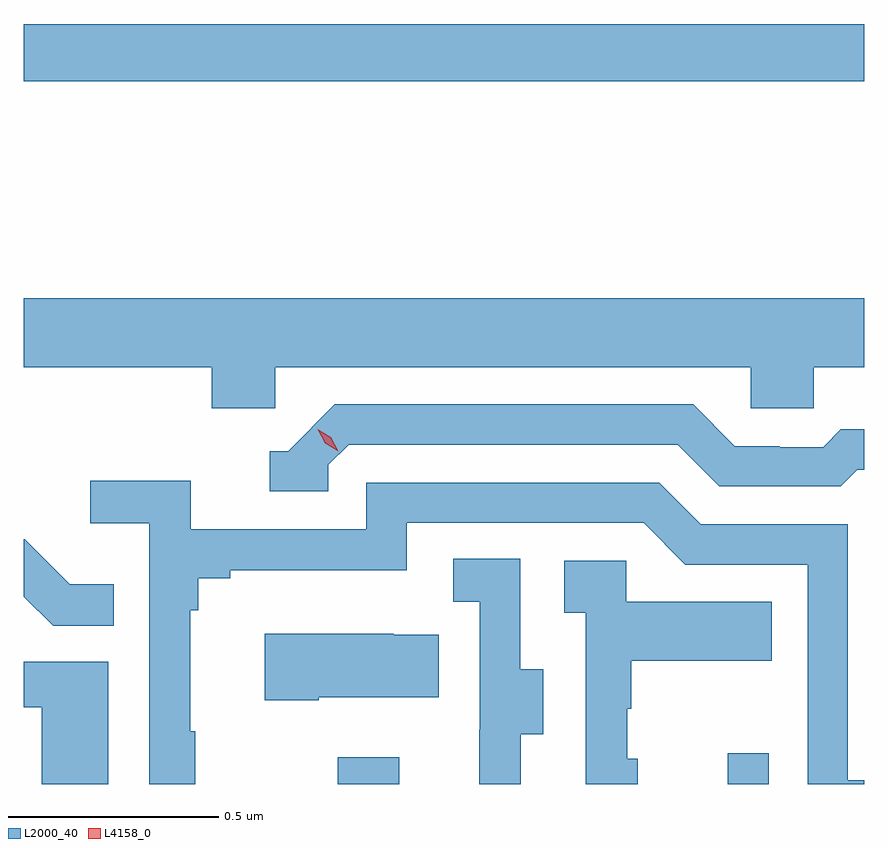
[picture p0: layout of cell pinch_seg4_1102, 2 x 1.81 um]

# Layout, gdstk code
import gdstk
lib = gdstk.Library(unit=1e-6, precision=1e-09)
def R(c, l, rs):  # rectangles x0, y0, x1, y1
    for r in rs: c.add(gdstk.rectangle(r[:2], r[2:], *l))
def P(c, l, *ps):  # polygons
    for p in ps: c.add(gdstk.Polygon(p, *l))
L2000_40 = (2000, 40)
L4158_0 = (4158, 0)

pinch_seg4_1102 = lib.new_cell('pinch_seg4_1102')
R(pinch_seg4_1102, L2000_40, [(832.27,766.524,832.417,766.588), (833.198,766.524,833.295,766.597), (831.523,768.196,833.523,768.332)])
P(pinch_seg4_1102, L2000_40, [(832.122,767.516),(833.253,767.516),(833.253,767.418),(833.403,767.418),(833.403,767.516),(833.523,767.516),(833.523,767.68),(831.523,767.68),(831.523,767.516),(831.971,767.516),(831.971,767.418),(832.122,767.418)],
  [(832.248,767.283),(832.296,767.331),(833.079,767.331),(833.178,767.232),(833.467,767.232),(833.506,767.271),(833.523,767.271),(833.523,767.368),(833.467,767.368),(833.425,767.325),(833.322,767.325),(833.322,767.328),(833.215,767.328),(833.116,767.427),(832.263,767.427),(832.152,767.316),(832.109,767.316),(832.109,767.22),(832.248,767.22)],
  [(831.931,766.649),(831.919,766.649),(831.919,766.937),(831.938,766.937),(831.938,767.014),(832.015,767.014),(832.015,767.033),(832.434,767.033),(832.434,767.145),(832.998,767.145),(833.097,767.046),(833.388,767.046),(833.388,766.524),(833.523,766.524),(833.523,766.533),(833.484,766.533),(833.484,767.142),(833.134,767.142),(833.035,767.241),(832.338,767.241),(832.338,767.13),(831.92,767.13),(831.92,767.246),(831.681,767.246),(831.681,767.144),(831.822,767.144),(831.822,766.524),(831.931,766.524)],
  [(831.737,766.999),(831.633,766.999),(831.526,767.106),(831.523,767.106),(831.523,766.97),(831.593,766.9),(831.737,766.9)],
  [(832.705,766.642),(832.759,766.642),(832.759,766.797),(832.704,766.797),(832.704,767.06),(832.545,767.06),(832.545,766.957),(832.608,766.957),(832.608,766.653),(832.607,766.653),(832.607,766.524),(832.705,766.524)],
  [(832.984,766.584),(832.959,766.584),(832.959,766.703),(832.969,766.703),(832.969,766.817),(833.303,766.817),(833.303,766.957),(832.956,766.957),(832.956,767.055),(832.809,767.055),(832.809,766.931),(832.86,766.931),(832.86,766.524),(832.984,766.524)],
  [(832.225,766.73),(832.511,766.73),(832.511,766.879),(832.403,766.879),(832.403,766.882),(832.097,766.882),(832.097,766.723),(832.225,766.723)],
  [(831.724,766.815),(831.523,766.815),(831.523,766.707),(831.566,766.707),(831.566,766.524),(831.724,766.524)])
P(pinch_seg4_1102, L4158_0, [(832.271,767.316),(832.24,767.335),(832.223,767.368),(832.223,767.368),(832.223,767.368),(832.254,767.349),(832.271,767.316),(832.271,767.316)])

lib.write_gds('pinch_seg4_1102.gds')
